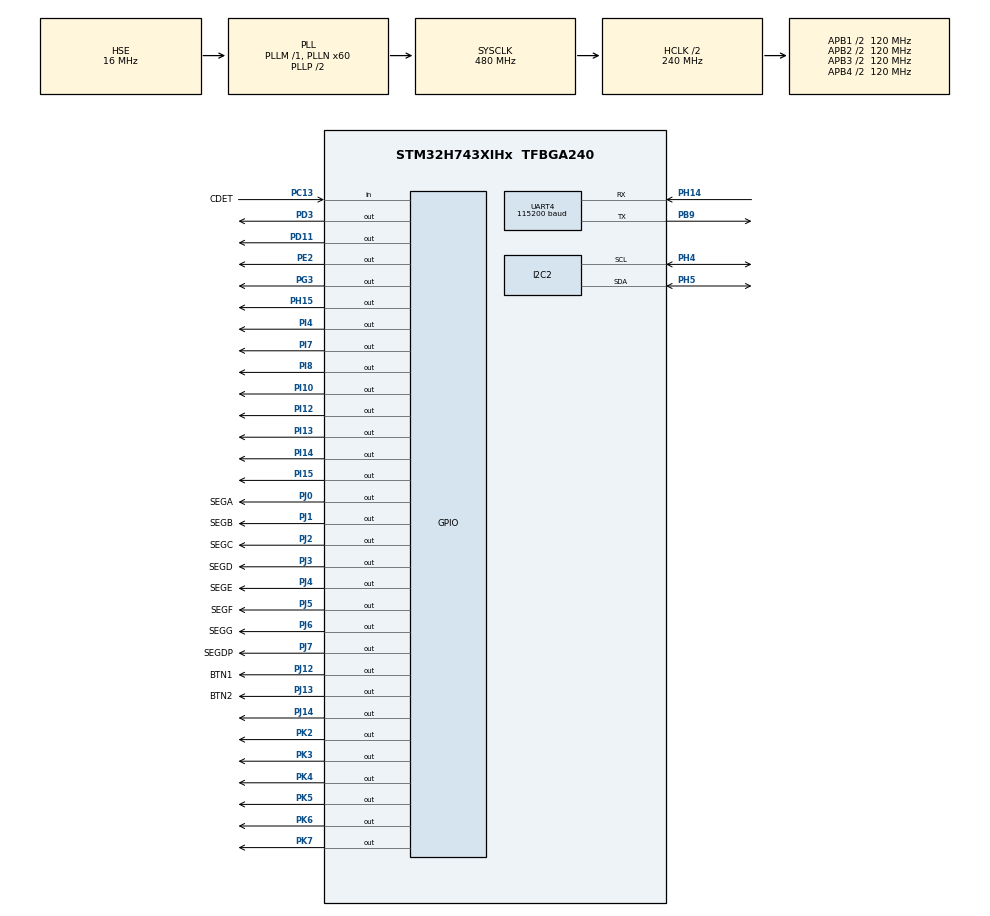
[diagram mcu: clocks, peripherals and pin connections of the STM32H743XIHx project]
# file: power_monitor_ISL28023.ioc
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CORTEX_M7.CPU_DCache=Disabled
CORTEX_M7.CPU_ICache=Disabled
CORTEX_M7.MPU_Control=__NULL
I2C2.Timing=0x307075B1
Mcu.Family=STM32H7
Mcu.Name=STM32H743XIHx
Mcu.Package=TFBGA240
NVIC.PriorityGroup=NVIC_PRIORITYGROUP_4
PA0_C.Signal=ADCx_INN1
PA13\ (JTMS/SWDIO).Mode=JTAG_5_pins
PA13\ (JTMS/SWDIO).Signal=DEBUG_JTMS-SWDIO
PA14\ (JTCK/SWCLK).Mode=JTAG_5_pins
PA14\ (JTCK/SWCLK).Signal=DEBUG_JTCK-SWCLK
PA15\ (JTDI).Mode=JTAG_5_pins
PA15\ (JTDI).Signal=DEBUG_JTDI
PA1_C.Signal=ADCx_INP1
PB3\ (JTDO/TRACESWO).Mode=JTAG_5_pins
PB3\ (JTDO/TRACESWO).Signal=DEBUG_JTDO-SWO
PB4\ (NJTRST).Mode=JTAG_5_pins
PB4\ (NJTRST).Signal=DEBUG_JTRST
PB9.Mode=Asynchronous
PB9.Signal=UART4_TX
PC13.GPIO_Label=CDET
PC13.GPIO_PuPd=GPIO_PULLUP
PC13.Signal=GPIO_Input
PC14-OSC32_IN\ (OSC32_IN).Mode=LSE-External-Oscillator
PC14-OSC32_IN\ (OSC32_IN).Signal=RCC_OSC32_IN
PC15-OSC32_OUT\ (OSC32_OUT).Mode=LSE-External-Oscillator
PC15-OSC32_OUT\ (OSC32_OUT).Signal=RCC_OSC32_OUT
PD11.Signal=GPIO_Output
PD3.Signal=GPIO_Output
PD7.Signal=SPI1_MOSI
PE2.Signal=GPIO_Output
PG3.Signal=GPIO_Output
PH0-OSC_IN\ (PH0).Mode=HSE-External-Oscillator
PH0-OSC_IN\ (PH0).Signal=RCC_OSC_IN
PH1-OSC_OUT\ (PH1).Mode=HSE-External-Oscillator
PH1-OSC_OUT\ (PH1).Signal=RCC_OSC_OUT
PH14.Mode=Asynchronous
PH14.Signal=UART4_RX
PH15.Signal=GPIO_Output
PH4.Mode=I2C
PH4.Signal=I2C2_SCL
PH5.Mode=I2C
PH5.Signal=I2C2_SDA
PI10.Signal=GPIO_Output
PI12.Signal=GPIO_Output
PI13.Signal=GPIO_Output
PI14.Signal=GPIO_Output
PI15.Signal=GPIO_Output
PI4.Signal=GPIO_Output
PI7.Signal=GPIO_Output
PI8.Signal=GPIO_Output
PJ0.GPIO_Label=SEGA
PJ0.Signal=GPIO_Output
PJ1.GPIO_Label=SEGB
PJ1.Signal=GPIO_Output
PJ12.GPIO_Label=BTN1
PJ12.Signal=GPIO_Output
PJ13.GPIO_Label=BTN2
PJ13.Signal=GPIO_Output
PJ14.Signal=GPIO_Output
PJ2.GPIO_Label=SEGC
PJ2.Signal=GPIO_Output
PJ3.GPIO_Label=SEGD
PJ3.Signal=GPIO_Output
PJ4.GPIO_Label=SEGE
PJ4.Signal=GPIO_Output
PJ5.GPIO_Label=SEGF
PJ5.Signal=GPIO_Output
PJ6.GPIO_Label=SEGG
PJ6.Signal=GPIO_Output
PJ7.GPIO_Label=SEGDP
PJ7.Signal=GPIO_Output
PK2.Signal=GPIO_Output
PK3.Signal=GPIO_Output
PK4.Signal=GPIO_Output
PK5.Signal=GPIO_Output
PK6.Signal=GPIO_Output
PK7.Signal=GPIO_Output
ProjectManager.HeapSize=0x200
ProjectManager.StackSize=0x400
ProjectManager.TargetToolchain=Makefile
RCC.ADCFreq_Value=150000000
RCC.APB1Freq_Value=120000000
RCC.APB2Freq_Value=120000000
RCC.APB3Freq_Value=120000000
RCC.APB4Freq_Value=120000000
RCC.CortexFreq_Value=480000000
RCC.D1PPRE=RCC_APB3_DIV2
RCC.D2PPRE1=RCC_APB1_DIV2
RCC.D2PPRE2=RCC_APB2_DIV2
RCC.D3PPRE=RCC_APB4_DIV2
RCC.DIVM1=1
RCC.DIVM2=1
RCC.DIVN1=60
RCC.DIVN2=9
RCC.DIVP2=1
RCC.HCLKFreq_Value=240000000
RCC.HPRE=RCC_HCLK_DIV2
RCC.HSE_VALUE=16000000
RCC.PLL2FRACN=3072
RCC.PLLFRACN=0
RCC.PLLSourceVirtual=RCC_PLLSOURCE_HSE
RCC.SYSCLKFreq_VALUE=480000000
RCC.SYSCLKSource=RCC_SYSCLKSOURCE_PLLCLK
RCC.USBCLockSelection=RCC_USBCLKSOURCE_HSI48
RCC.USBFreq_Value=48000000
SH.ADCx_INN1.0=ADC2_INN1
SH.ADCx_INN1.1=ADC1_INN1
SH.ADCx_INP1.0=ADC2_INP1
SH.ADCx_INP1.1=ADC1_INP1
UART4.BaudRate=115200
board=custom

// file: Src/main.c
/* USER CODE BEGIN Header */
/**
  ******************************************************************************
  * @file           : main.c
  * @brief          : Main program body
  ******************************************************************************
  * @attention
  *
  * <h2><center>&copy; Copyright (c) 2020 STMicroelectronics.
  * All rights reserved.</center></h2>
  *
  * This software component is licensed by ST under BSD 3-Clause license,
  * the "License"; You may not use this file except in compliance with the
  * License. You may obtain a copy of the License at:
  *                        opensource.org/licenses/BSD-3-Clause
  *
  ******************************************************************************
  */
/* USER CODE END Header */

#include "main.h"
#include "i2c.h"
#include "usart.h"
#include "gpio.h"

/* USER CODE BEGIN Includes */
#include "i2c_hal.h"
#include "isl28023.h"

/* USER CODE END Includes */

/* USER CODE BEGIN PV */
struct i2c_dev_s i2c_dev={&hi2c2, &i2c_mem_read, &i2c_mem_write, &i2c_master_transmit};  //TODO: change to init-fct-based approach
/* USER CODE END PV */

void SystemClock_Config(void);

int main(void)
{

  /* MCU Configuration--------------------------------------------------------*/

  /* Reset of all peripherals, Initializes the Flash interface and the Systick. */
  HAL_Init();

  /* Configure the system clock */
  SystemClock_Config();

  /* Initialize all configured peripherals */
  MX_GPIO_Init();
  MX_UART4_Init();
  MX_I2C2_Init();
  /* USER CODE BEGIN 2 */
  struct isl28023_dev_s isl28023_dev;
  isl28023_init(&isl28023_dev, &i2c_dev, 0b10001010); //address must be shifted to the left for HAL
  volatile uint8_t tmp;
  uint8_t datatmp[9];
  float_t datatmp_float=0;
  for(int cnt=0; cnt<9; cnt++)
    datatmp[cnt]=0;
  /* USER CODE END 2 */

  /* Infinite loop */
  while (1)
  {

    /* USER CODE BEGIN 3 */
    int8_t error = isl28023_dev.read_ID(&isl28023_dev, &datatmp[0]);
    if(error == 0)
    {
      tmp=0; // no error
    }
    else
    {
      tmp=1; // error occurred
    }
    error = isl28023_dev.read_vshunt(&isl28023_dev, &datatmp_float);
    if(error == 0)
    {
      tmp=0; // no error
    }
    else
    {
      tmp=1; // error occurred
    }
  }
  /* USER CODE END 3 */
}

void SystemClock_Config(void)
{
  RCC_OscInitTypeDef RCC_OscInitStruct = {0};
  RCC_ClkInitTypeDef RCC_ClkInitStruct = {0};
  RCC_PeriphCLKInitTypeDef PeriphClkInitStruct = {0};

  /** Supply configuration update enable
  */
  HAL_PWREx_ConfigSupply(PWR_LDO_SUPPLY);
  /** Configure the main internal regulator output voltage
  */
  __HAL_PWR_VOLTAGESCALING_CONFIG(PWR_REGULATOR_VOLTAGE_SCALE0);

  while(!__HAL_PWR_GET_FLAG(PWR_FLAG_VOSRDY)) {}
  /** Initializes the CPU, AHB and APB busses clocks
  */
  RCC_OscInitStruct.OscillatorType = RCC_OSCILLATORTYPE_HSE;
  RCC_OscInitStruct.HSEState = RCC_HSE_ON;
  RCC_OscInitStruct.PLL.PLLState = RCC_PLL_ON;
  RCC_OscInitStruct.PLL.PLLSource = RCC_PLLSOURCE_HSE;
  RCC_OscInitStruct.PLL.PLLM = 1;
  RCC_OscInitStruct.PLL.PLLN = 60;
  RCC_OscInitStruct.PLL.PLLP = 2;
  RCC_OscInitStruct.PLL.PLLQ = 2;
  RCC_OscInitStruct.PLL.PLLR = 2;
  RCC_OscInitStruct.PLL.PLLRGE = RCC_PLL1VCIRANGE_3;
  RCC_OscInitStruct.PLL.PLLVCOSEL = RCC_PLL1VCOWIDE;
  RCC_OscInitStruct.PLL.PLLFRACN = 0;
  if (HAL_RCC_OscConfig(&RCC_OscInitStruct) != HAL_OK)
  {
    Error_Handler();
  }
  /** Initializes the CPU, AHB and APB busses clocks
  */
  RCC_ClkInitStruct.ClockType = RCC_CLOCKTYPE_HCLK|RCC_CLOCKTYPE_SYSCLK
                              |RCC_CLOCKTYPE_PCLK1|RCC_CLOCKTYPE_PCLK2
                              |RCC_CLOCKTYPE_D3PCLK1|RCC_CLOCKTYPE_D1PCLK1;
  RCC_ClkInitStruct.SYSCLKSource = RCC_SYSCLKSOURCE_PLLCLK;
  RCC_ClkInitStruct.SYSCLKDivider = RCC_SYSCLK_DIV1;
  RCC_ClkInitStruct.AHBCLKDivider = RCC_HCLK_DIV2;
  RCC_ClkInitStruct.APB3CLKDivider = RCC_APB3_DIV2;
  RCC_ClkInitStruct.APB1CLKDivider = RCC_APB1_DIV2;
  RCC_ClkInitStruct.APB2CLKDivider = RCC_APB2_DIV2;
  RCC_ClkInitStruct.APB4CLKDivider = RCC_APB4_DIV2;

  if (HAL_RCC_ClockConfig(&RCC_ClkInitStruct, FLASH_LATENCY_4) != HAL_OK)
  {
    Error_Handler();
  }
  PeriphClkInitStruct.PeriphClockSelection = RCC_PERIPHCLK_UART4|RCC_PERIPHCLK_I2C2;
  PeriphClkInitStruct.Usart234578ClockSelection = RCC_USART234578CLKSOURCE_D2PCLK1;
  PeriphClkInitStruct.I2c123ClockSelection = RCC_I2C123CLKSOURCE_D2PCLK1;
  if (HAL_RCCEx_PeriphCLKConfig(&PeriphClkInitStruct) != HAL_OK)
  {
    Error_Handler();
  }
}

void Error_Handler(void)
{
}

/************************ (C) COPYRIGHT STMicroelectronics *****END OF FILE****/
